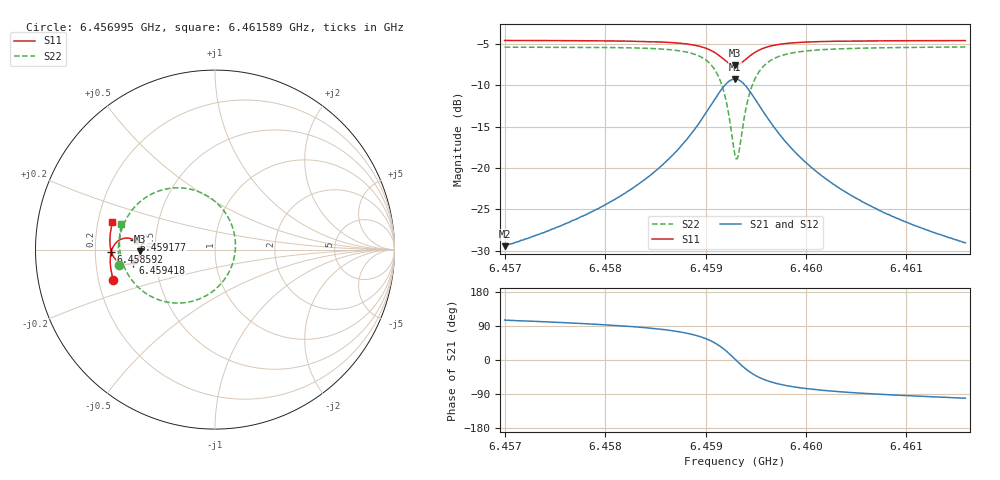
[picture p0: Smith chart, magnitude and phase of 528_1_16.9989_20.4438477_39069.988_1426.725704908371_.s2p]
#  HZ  S  RI  R  50.00
! Rohde & Schwarz Vector Network Analyzer
! Rohde-Schwarz,ZNB20-2Port,1311601062101988,3.16
! Created: UTC 3/20/2024, 11:15:46 PM
! freq[Hz]  re:S11  im:S11  re:S21  im:S21  re:S12  im:S12  re:S22  im:S22
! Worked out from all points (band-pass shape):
!   401 points, 6.456995 GHz to 6.461589 GHz, reference 50 ohm
!   highest |S21| = -9.21 dB at 6.459292 GHz (marker M1); lowest = -29.5 dB at 6.456995 GHz (marker M2)
!   |S21| within 3 dB of the highest: 6.459062 GHz to 6.459522 GHz (459.5 kHz wide, 0.00711 % of centre)
!   lowest |S11| = -7.6 dB at 6.459292 GHz (marker M3), VSWR 2.44, Z = 20.5 - j0.478 ohm
!   |S11| at or under -10 dB: nowhere
!   |S22| runs from -18.9 to -5.3 dB; largest |S21 - S12| = 0.014
!   S11 on the Smith chart (normalised r, x): 6.456995 GHz: 0.26, -0.14; 6.458592 GHz: 0.27, -0.01; 6.459177 GHz: 0.37, +0.05; 6.459418 GHz: 0.37, -0.07; 6.461589 GHz: 0.26, +0.12
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6.4569955e9  -0.5671 -0.171  -0.00894 0.0324  -0.00711 0.0325  -0.533 -0.0833
6.4577648e9  -0.581 -0.1035  -0.00552 0.0506  -0.003 0.0499  -0.5382 0.00704
6.4581782e9  -0.5838 -0.0622  0.000288 0.0693  0.0034 0.0679  -0.5303 0.0724
6.4585342e9  -0.5798 -0.0197  0.0146 0.0989  0.0185 0.0962  -0.5041 0.1522
6.4585916e9  -0.578 -0.0118  0.0187 0.1058  0.0228 0.1027  -0.4958 0.1688
6.4587983e9  -0.5649 0.0202  0.0465 0.1381  0.0507 0.1333  -0.4439 0.2416
6.4589476e9  -0.5422 0.0466  0.092 0.1688  0.0952 0.162  -0.36 0.306
6.4590854e9  -0.4983 0.064  0.1793 0.185  0.1803 0.1778  -0.2003 0.3442
6.4591773e9  -0.4536 0.0536  0.2694 0.1536  0.2696 0.1477  -0.0332 0.2933
6.4592462e9  -0.4246 0.0216  0.3297 0.0812  0.3319 0.0761  0.0822 0.163
6.4592921e9  -0.4178 -0.00961  0.346 0.0133  0.3497 0.00634  0.114 0.0356
6.4593036e9  -0.4183 -0.0176  0.3457 -0.00461  0.3497 -0.0121  0.1137 0.00193
6.4593266e9  -0.4219 -0.0332  0.34 -0.0392  0.3439 -0.0484  0.1022 -0.0642
6.4593725e9  -0.4375 -0.0593  0.3113 -0.0992  0.3137 -0.1111  0.0441 -0.1775
6.4594184e9  -0.4596 -0.0754  0.269 -0.1402  0.2682 -0.1534  -0.0415 -0.2522
6.4595103e9  -0.503 -0.0823  0.1841 -0.1712  0.1779 -0.1827  -0.211 -0.2979
6.4596596e9  -0.5468 -0.0617  0.0961 -0.1571  0.0876 -0.1633  -0.3789 -0.2479
6.4598318e9  -0.5693 -0.0322  0.0492 -0.1272  0.0416 -0.1298  -0.463 -0.1706
6.4600615e9  -0.5809 0.00149  0.0221 -0.0974  0.0162 -0.098  -0.5072 -0.0926
6.460406e9  -0.5855 0.0425  0.00614 -0.0704  0.00207 -0.0701  -0.5286 -0.0132
6.4608309e9  -0.5836 0.0851  -0.00165 -0.0519  -0.00433 -0.0511  -0.5327 0.0551
6.4615888e9  -0.5712 0.1523  -0.00648 -0.0347  -0.00823 -0.0337  -0.5212 0.1446
